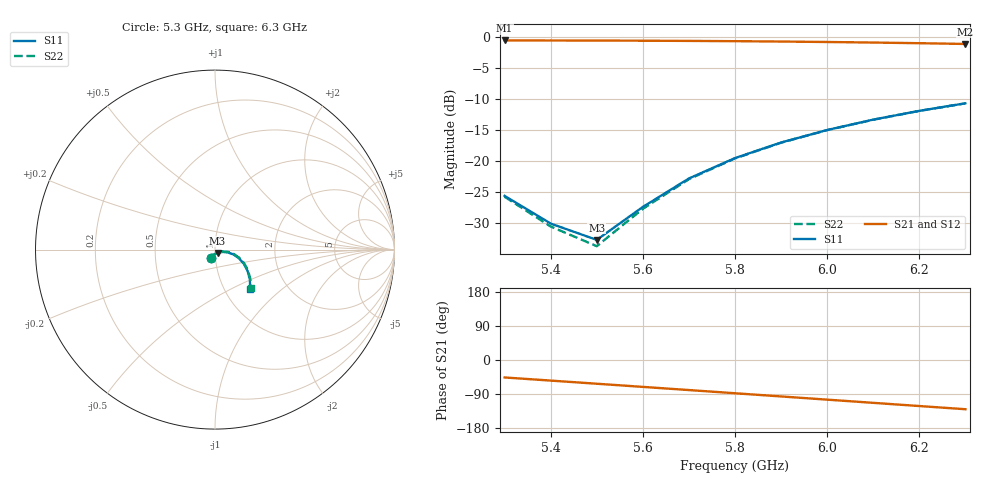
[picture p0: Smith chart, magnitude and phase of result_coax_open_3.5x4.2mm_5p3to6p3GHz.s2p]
! F03: W=3.5, L=4.2 mm; original tapers; L3 intact
! 11 direct frequencies 5.3-6.3 GHz; coax reference planes; connectors included
# Hz S RI R 50
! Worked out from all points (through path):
!   11 points, 5.3 GHz to 6.3 GHz, reference 50 ohm
!   highest |S21| = -0.57 dB at 5.3 GHz (marker M1); lowest = -1.1 dB at 6.3 GHz (marker M2)
!   lowest |S11| = -32.6 dB at 5.5 GHz (marker M3), VSWR 1.05, Z = 51.4 - j1.92 ohm
!   |S11| at or under -10 dB: start of sweep to end of sweep
!   |S22| runs from -33.6 to -10.7 dB; largest |S21 - S12| = 1e-12
5.3e9  -0.0238 -0.0471  0.6496 -0.6747  0.6496 -0.6747  -0.025 -0.0454
5.4e9  -0.00791 -0.0306  0.5458 -0.7605  0.5458 -0.7605  -0.00904 -0.0285
5.5e9  0.014 -0.0187  0.4298 -0.83  0.4298 -0.83  0.0131 -0.0162
5.6e9  0.0409 -0.0132  0.3042 -0.8813  0.3042 -0.8813  0.0402 -0.0102
5.7e9  0.0711 -0.0156  0.172 -0.9129  0.172 -0.9129  0.0708 -0.0123
5.8e9  0.1027 -0.0271  0.0365 -0.9234  0.0365 -0.9234  0.1029 -0.0234
5.9e9  0.1332 -0.0481  -0.0987 -0.9127  -0.0987 -0.9127  0.134 -0.0443
6e9  0.1602 -0.0787  -0.2297 -0.8808  -0.2297 -0.8808  0.1616 -0.0748
6.1e9  0.1812 -0.1181  -0.353 -0.829  -0.353 -0.829  0.1832 -0.1142
6.2e9  0.1938 -0.1649  -0.465 -0.7591  -0.465 -0.7591  0.1965 -0.1612
6.3e9  0.1962 -0.2171  -0.563 -0.6735  -0.563 -0.6735  0.1994 -0.2137
